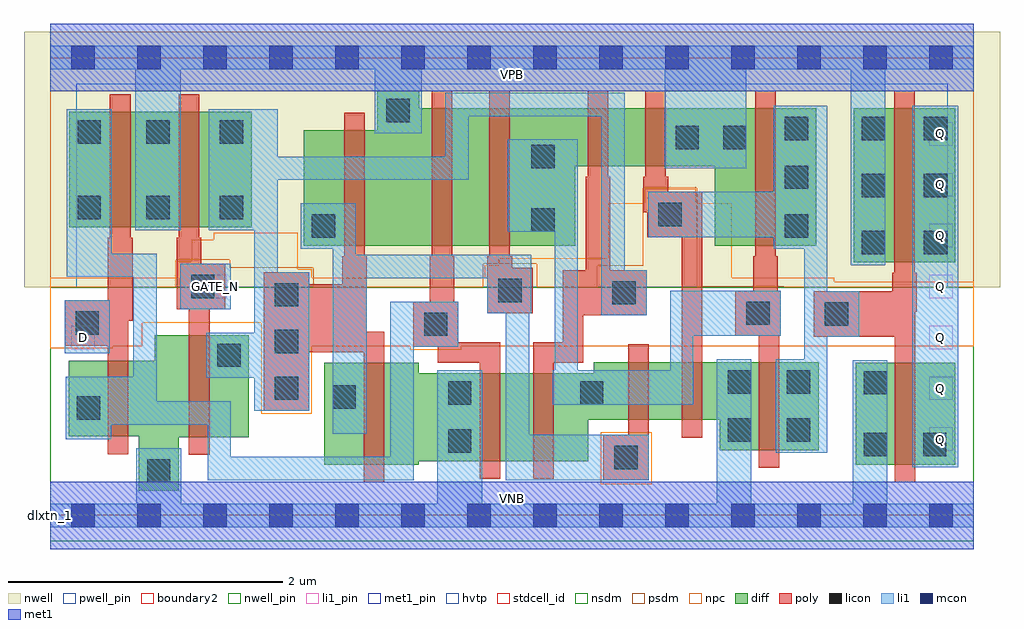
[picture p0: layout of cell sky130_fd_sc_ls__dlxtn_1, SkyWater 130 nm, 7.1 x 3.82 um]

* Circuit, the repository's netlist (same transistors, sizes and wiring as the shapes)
* Copyright 2020 The SkyWater PDK Authors
*
* Licensed under the Apache License, Version 2.0 (the "License");
* you may not use this file except in compliance with the License.
* You may obtain a copy of the License at
*
*     https://www.apache.org/licenses/LICENSE-2.0
*
* Unless required by applicable law or agreed to in writing, software
* distributed under the License is distributed on an "AS IS" BASIS,
* WITHOUT WARRANTIES OR CONDITIONS OF ANY KIND, either express or implied.
* See the License for the specific language governing permissions and
* limitations under the License.
*
* SPDX-License-Identifier: Apache-2.0

.SUBCKT sky130_fd_sc_ls__dlxtn_1 D GATE_N VGND VNB VPB VPWR Q
*.PININFO D:I GATE_N:I VGND:I VNB:I VPB:I VPWR:I Q:O
MI635 clkneg clkpos VPWR VPB sky130_fd_pr__pfet_01v8_hvt m=1 w=0.84U l=0.15U mult=1
+ sa=0.265 sb=0.265 sd=0.28 area=0.063 perim=1.14
MI17 M0 clkneg net53 VPB sky130_fd_pr__pfet_01v8_hvt m=1 w=1.0U l=0.15U mult=1
+ sa=0.265 sb=0.265 sd=0.28 area=0.063 perim=1.14
MI650 Q m1 VPWR VPB sky130_fd_pr__pfet_01v8_hvt m=1 w=1.12U l=0.15U mult=1 sa=0.265
+ sb=0.265 sd=0.28 area=0.063 perim=1.14
MI633 clkpos GATE_N VPWR VPB sky130_fd_pr__pfet_01v8_hvt m=1 w=0.84U l=0.15U mult=1
+ sa=0.265 sb=0.265 sd=0.28 area=0.063 perim=1.14
MI18 net53 db VPWR VPB sky130_fd_pr__pfet_01v8_hvt m=1 w=1.0U l=0.15U mult=1 sa=0.265
+ sb=0.265 sd=0.28 area=0.063 perim=1.14
MI653 net44 m1 VPWR VPB sky130_fd_pr__pfet_01v8_hvt m=1 w=0.42U l=0.15U mult=1
+ sa=0.265 sb=0.265 sd=0.28 area=0.063 perim=1.14
MI651 M0 clkpos net44 VPB sky130_fd_pr__pfet_01v8_hvt m=1 w=0.42U l=0.15U mult=1
+ sa=0.265 sb=0.265 sd=0.28 area=0.063 perim=1.14
MI655 m1 M0 VPWR VPB sky130_fd_pr__pfet_01v8_hvt m=1 w=1.0U l=0.15U mult=1 sa=0.265
+ sb=0.265 sd=0.28 area=0.063 perim=1.14
MI638 db D VPWR VPB sky130_fd_pr__pfet_01v8_hvt m=1 w=0.84U l=0.15U mult=1 sa=0.265
+ sb=0.265 sd=0.28 area=0.063 perim=1.14
MI634 clkpos GATE_N VGND VNB sky130_fd_pr__nfet_01v8 m=1 w=0.74U l=0.15U mult=1
+ sa=0.265 sb=0.265 sd=0.28 area=0.063 perim=1.14
MI649 Q m1 VGND VNB sky130_fd_pr__nfet_01v8 m=1 w=0.74U l=0.15U mult=1 sa=0.265
+ sb=0.265 sd=0.28 area=0.063 perim=1.14
MI652 M0 clkneg net96 VNB sky130_fd_pr__nfet_01v8 m=1 w=0.42U l=0.15U mult=1 sa=0.265
+ sb=0.265 sd=0.28 area=0.063 perim=1.14
MI654 net96 m1 VGND VNB sky130_fd_pr__nfet_01v8 m=1 w=0.42U l=0.15U mult=1 sa=0.265
+ sb=0.265 sd=0.28 area=0.063 perim=1.14
MI656 m1 M0 VGND VNB sky130_fd_pr__nfet_01v8 m=1 w=0.64U l=0.15U mult=1 sa=0.265
+ sb=0.265 sd=0.28 area=0.063 perim=1.14
MI636 clkneg clkpos VGND VNB sky130_fd_pr__nfet_01v8 m=1 w=0.74U l=0.15U mult=1
+ sa=0.265 sb=0.265 sd=0.28 area=0.063 perim=1.14
MI637 db D VGND VNB sky130_fd_pr__nfet_01v8 m=1 w=0.55U l=0.15U mult=1 sa=0.265
+ sb=0.265 sd=0.28 area=0.063 perim=1.14
MI19 M0 clkpos net76 VNB sky130_fd_pr__nfet_01v8 m=1 w=0.64U l=0.15U mult=1 sa=0.265
+ sb=0.265 sd=0.28 area=0.063 perim=1.14
MI20 net76 db VGND VNB sky130_fd_pr__nfet_01v8 m=1 w=0.64U l=0.15U mult=1 sa=0.265
+ sb=0.265 sd=0.28 area=0.063 perim=1.14
.ENDS sky130_fd_sc_ls__dlxtn_1

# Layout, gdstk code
import gdstk
lib = gdstk.Library(unit=1e-6, precision=1e-09)
def R(c, l, rs):  # rectangles x0, y0, x1, y1
    for r in rs: c.add(gdstk.rectangle(r[:2], r[2:], *l))
def A(c, l, x, y, w, h, nx, ny, dx, dy):  # array of equal rectangles
    R(c, l, [(x+i*dx, y+j*dy, x+i*dx+w, y+j*dy+h) for i in range(nx) for j in range(ny)])
def P(c, l, *ps):  # polygons
    for p in ps: c.add(gdstk.Polygon(p, *l))
nwell_pin = (64, 16)
nwell = (64, 20)
diff = (65, 20)
poly = (66, 20)
licon = (66, 44)
li1_pin = (67, 16)
li1 = (67, 20)
mcon = (67, 44)
met1_pin = (68, 16)
met1 = (68, 20)
hvtp = (78, 44)
stdcell_id = (81, 4)
nsdm = (93, 44)
psdm = (94, 20)
npc = (95, 20)
pwell_pin = (122, 16)
boundary2 = (236, 0)

sky130_fd_sc_ls__dlxtn_1 = lib.new_cell('sky130_fd_sc_ls__dlxtn_1')
R(sky130_fd_sc_ls__dlxtn_1, nwell_pin, [(0,3.085,6.72,3.33)])
R(sky130_fd_sc_ls__dlxtn_1, nwell, [(-0.19,1.66,6.91,3.52)])
R(sky130_fd_sc_ls__dlxtn_1, diff, [(5.86,0.37,6.585,1.11), (5.845,1.84,6.585,2.96), (0.14,2.095,1.465,2.935)])
P(sky130_fd_sc_ls__dlxtn_1, diff, [(1.445,1.31),(0.76,1.31),(0.76,1.125),(0.135,1.125),(0.135,0.575),(0.645,0.575),(0.645,0.18),(0.935,0.18),(0.935,0.57),(1.445,0.57)],
  [(5.575,2.96),(2.685,2.96),(2.685,3.09),(2.38,3.09),(2.38,2.8),(1.845,2.8),(1.845,1.96),(3.82,1.96),(3.82,2.54),(4.835,2.54),(4.835,1.96),(5.575,1.96)],
  [(5.59,1.115),(3.955,1.115),(3.955,1.035),(2.68,1.035),(2.68,1.11),(1.995,1.11),(1.995,0.37),(2.68,0.37),(2.68,0.395),(3.915,0.395),(3.915,0.695),(4.87,0.695),(4.87,0.475),(5.59,0.475)])
P(sky130_fd_sc_ls__dlxtn_1, poly, [(6.305,1.765),(6.29,1.765),(6.29,3.09),(6.14,3.09),(6.14,1.765),(6.125,1.765),(6.125,1.63),(5.555,1.63),(5.555,1.3),(6.145,1.3),(6.145,0.24),(6.295,0.24),(6.295,1.48),(6.305,1.48)],
  [(5.315,1.635),(5.295,1.635),(5.295,1.885),(5.28,1.885),(5.28,3.09),(5.13,3.09),(5.13,1.885),(5.115,1.885),(5.115,1.635),(4.985,1.635),(4.985,1.305),(5.155,1.305),(5.155,0.345),(5.305,0.345),(5.305,1.305),(5.315,1.305)],
  [(4.745,2.355),(4.495,2.355),(4.495,2.465),(4.48,2.465),(4.48,3.09),(4.33,3.09),(4.33,2.465),(4.315,2.465),(4.315,2.205),(4.345,2.205),(4.345,2.025),(4.595,2.025),(4.595,0.565),(4.745,0.565)],
  [(4.355,1.245),(4.205,1.245),(4.205,0.585),(4.025,0.585),(4.025,0.255),(4.355,0.255)],
  [(4.34,1.785),(4.075,1.785),(4.075,2.465),(4.06,2.465),(4.06,3.09),(3.91,3.09),(3.91,2.465),(3.895,2.465),(3.895,1.785),(3.73,1.785),(3.73,1.26),(3.515,1.26),(3.515,0.265),(3.665,0.265),(3.665,1.11),(3.88,1.11),(3.88,1.455),(4.34,1.455)],
  [(3.51,1.8),(3.36,1.8),(3.36,1.885),(3.345,1.885),(3.345,3.09),(3.195,3.09),(3.195,1.885),(3.18,1.885),(3.18,1.47),(3.51,1.47)],
  [(3.275,1.26),(2.97,1.26),(2.97,1.555),(2.94,1.555),(2.94,1.885),(2.925,1.885),(2.925,3.09),(2.775,3.09),(2.775,1.885),(2.76,1.885),(2.76,1.555),(2.64,1.555),(2.64,1.225),(2.82,1.225),(2.82,1.11),(3.125,1.11),(3.125,0.265),(3.275,0.265)],
  [(2.43,1.335),(2.305,1.335),(2.305,1.885),(2.29,1.885),(2.29,2.93),(2.14,2.93),(2.14,1.885),(2.125,1.885),(2.125,1.68),(1.885,1.68),(1.885,1.77),(1.555,1.77),(1.555,0.76),(1.885,0.76),(1.885,1.185),(2.28,1.185),(2.28,0.24),(2.43,0.24)],
  [(1.275,1.83),(1.1,1.83),(1.1,2.02),(1.085,2.02),(1.085,3.065),(0.935,3.065),(0.935,2.02),(0.92,2.02),(0.92,1.5),(1.01,1.5),(1.01,0.44),(1.16,0.44),(1.16,1.5),(1.275,1.5)],
  [(0.6,2.02),(0.585,2.02),(0.585,3.065),(0.435,3.065),(0.435,2.02),(0.42,2.02),(0.42,1.565),(0.105,1.565),(0.105,1.235),(0.42,1.235),(0.42,0.445),(0.57,0.445),(0.57,1.415),(0.6,1.415)])
A(sky130_fd_sc_ls__dlxtn_1, licon, 1.635, 0.84, 0.17, 0.17, 1, 3, 0, 0.34)
A(sky130_fd_sc_ls__dlxtn_1, licon, 5.905, 1.9, 0.17, 0.17, 1, 3, 0, 0.415)
A(sky130_fd_sc_ls__dlxtn_1, licon, 6.355, 1.9, 0.17, 0.17, 1, 3, 0, 0.415)
A(sky130_fd_sc_ls__dlxtn_1, licon, 5.345, 2.02, 0.17, 0.17, 1, 3, 0, 0.355)
R(sky130_fd_sc_ls__dlxtn_1, licon, [(0.705,0.24,0.875,0.41), (4.105,0.335,4.275,0.505), (5.92,0.43,6.09,0.6), (6.35,0.43,6.52,0.6), (2.895,0.455,3.065,0.625), (4.93,0.535,5.1,0.705), (5.36,0.535,5.53,0.705), (0.195,0.695,0.365,0.865), (2.055,0.775,2.225,0.945), (2.895,0.805,3.065,0.975), (3.855,0.805,4.025,0.975), (5.92,0.88,6.09,1.05), (4.93,0.885,5.1,1.055), (5.36,0.885,5.53,1.055), (1.215,1.08,1.385,1.25), (2.72,1.305,2.89,1.475), (0.185,1.315,0.355,1.485), (5.635,1.38,5.805,1.55), (5.065,1.385,5.235,1.555), (4.09,1.535,4.26,1.705), (3.26,1.55,3.43,1.72), (1.025,1.58,1.195,1.75), (1.905,2.02,2.075,2.19), (3.5,2.065,3.67,2.235), (4.425,2.105,4.595,2.275), (0.2,2.155,0.37,2.325), (0.7,2.155,0.87,2.325), (1.235,2.155,1.405,2.325), (3.5,2.525,3.67,2.695), (4.55,2.665,4.72,2.835), (4.895,2.665,5.065,2.835), (0.2,2.705,0.37,2.875), (0.7,2.705,0.87,2.875), (1.235,2.705,1.405,2.875), (2.445,2.86,2.615,3.03)])
A(sky130_fd_sc_ls__dlxtn_1, li1_pin, 6.395, 0.47, 0.17, 0.17, 1, 7, 0, 0.37)
R(sky130_fd_sc_ls__dlxtn_1, li1_pin, [(0.155,1.21,0.325,1.38), (1.115,1.58,1.285,1.75)])
R(sky130_fd_sc_ls__dlxtn_1, li1, [(6.27,0.35,6.605,2.98), (0.105,1.18,0.435,1.565), (0.945,1.5,1.315,1.83)])
P(sky130_fd_sc_ls__dlxtn_1, li1, [(0,-0.085),(0,0.085),(0.625,0.085),(0.625,0.49),(0.955,0.49),(0.955,0.085),(2.815,0.085),(2.815,1.055),(3.145,1.055),(3.145,0.085),(4.85,0.085),(4.85,1.135),(5.1,1.135),(5.1,0.085),(5.84,0.085),(5.84,1.13),(6.09,1.13),(6.09,0.085),(6.72,0.085),(6.72,-0.085)],
  [(0,3.245),(0,3.415),(6.72,3.415),(6.72,3.245),(6.075,3.245),(6.075,1.82),(5.825,1.82),(5.825,3.245),(5.065,3.245),(5.065,2.525),(4.47,2.525),(4.47,3.245),(2.705,3.245),(2.705,2.78),(2.36,2.78),(2.36,3.245),(0.95,3.245),(0.95,2.075),(0.62,2.075),(0.62,3.245)],
  [(0.605,1.01),(0.605,1.735),(0.12,1.735),(0.12,2.955),(0.45,2.955),(0.45,1.905),(0.775,1.905),(0.775,0.83),(1.315,0.83),(1.315,0.425),(2.475,0.425),(2.475,1.555),(2.97,1.555),(2.97,1.225),(2.645,1.225),(2.645,0.255),(1.145,0.255),(1.145,0.66),(0.445,0.66),(0.445,0.555),(0.115,0.555),(0.115,1.01)],
  [(2.225,1.895),(3.5,1.895),(3.5,1.47),(3.485,1.47),(3.485,0.585),(4.355,0.585),(4.355,0.255),(3.315,0.255),(3.315,1.47),(3.18,1.47),(3.18,1.725),(2.305,1.725),(2.305,0.595),(2.055,0.595),(2.055,1.94),(1.825,1.94),(1.825,2.27),(2.225,2.27)],
  [(4.18,3.075),(4.18,1.785),(4.34,1.785),(4.34,1.455),(4.01,1.455),(4.01,2.905),(3.045,2.905),(3.045,2.44),(1.655,2.44),(1.655,1.77),(1.885,1.77),(1.885,0.76),(1.485,0.76),(1.485,1),(1.135,1),(1.135,1.33),(1.485,1.33),(1.485,2.075),(1.155,2.075),(1.155,2.955),(1.655,2.955),(1.655,2.61),(2.875,2.61),(2.875,3.075)],
  [(4.35,2.025),(4.35,2.355),(5.265,2.355),(5.265,2.98),(5.655,2.98),(5.655,1.63),(5.885,1.63),(5.885,1.3),(5.655,1.3),(5.655,0.455),(5.28,0.455),(5.28,1.135),(5.485,1.135),(5.485,1.94),(5.265,1.94),(5.265,2.025)],
  [(3.67,1.055),(3.67,2.065),(3.33,2.065),(3.33,2.735),(3.84,2.735),(3.84,1.055),(4.51,1.055),(4.51,1.635),(5.315,1.635),(5.315,1.305),(4.68,1.305),(4.68,0.805),(3.655,0.805),(3.655,1.055)])
A(sky130_fd_sc_ls__dlxtn_1, mcon, 0.155, -0.085, 0.17, 0.17, 14, 2, 0.48, 3.33)
R(sky130_fd_sc_ls__dlxtn_1, met1_pin, [(0,0,6.72,0.245), (0,3.085,6.72,3.33)])
R(sky130_fd_sc_ls__dlxtn_1, met1, [(0,-0.245,6.72,0.245), (0,3.085,6.72,3.575)])
R(sky130_fd_sc_ls__dlxtn_1, hvtp, [(0.19,1.66,6.53,3.14)])
R(sky130_fd_sc_ls__dlxtn_1, stdcell_id, [(0,0,6.72,3.33)])
R(sky130_fd_sc_ls__dlxtn_1, nsdm, [(0,-0.19,6.72,1.66)])
P(sky130_fd_sc_ls__dlxtn_1, psdm, [(6.72,3.52),(0,3.52),(0,1.66),(0.915,1.66),(0.915,1.86),(1.305,1.86),(1.305,1.8),(1.915,1.8),(1.915,1.66),(3.15,1.66),(3.15,1.83),(3.54,1.83),(3.54,1.66),(3.98,1.66),(3.98,1.815),(4.315,1.815),(4.315,2.385),(4.705,2.385),(4.705,1.665),(5.345,1.665),(5.345,1.66),(6.72,1.66)])
R(sky130_fd_sc_ls__dlxtn_1, npc, [(4.005,0.225,4.375,0.605)])
P(sky130_fd_sc_ls__dlxtn_1, npc, [(6.72,1.7),(5.705,1.7),(5.705,1.73),(4.96,1.73),(4.96,2.27),(4.695,2.27),(4.695,2.375),(4.325,2.375),(4.325,2.27),(4.06,2.27),(4.06,1.87),(3.265,1.87),(3.265,1.82),(3.16,1.82),(3.16,1.73),(1.905,1.73),(1.905,1.79),(1.8,1.79),(1.8,2.055),(1.19,2.055),(1.19,2.005),(1.03,2.005),(1.03,1.85),(0.925,1.85),(0.925,1.73),(0,1.73),(0,1.215),(0.455,1.215),(0.455,1.23),(0.67,1.23),(0.67,1.4),(1.535,1.4),(1.535,0.74),(1.905,0.74),(1.905,1.23),(2.62,1.23),(2.62,1.205),(2.99,1.205),(2.99,1.23),(6.72,1.23)])
R(sky130_fd_sc_ls__dlxtn_1, pwell_pin, [(0,0,6.72,0.245)])
R(sky130_fd_sc_ls__dlxtn_1, boundary2, [(0,0,6.72,3.33)])
sky130_fd_sc_ls__dlxtn_1.add(gdstk.Label('dlxtn_1', (0,0), layer=83, texttype=44))
sky130_fd_sc_ls__dlxtn_1.add(gdstk.Label('VNB', (3.36,0.123), layer=64, texttype=59))
sky130_fd_sc_ls__dlxtn_1.add(gdstk.Label('VPB', (3.36,3.208), layer=64, texttype=5))
sky130_fd_sc_ls__dlxtn_1.add(gdstk.Label('VPWR', (3.36,3.208), layer=68, texttype=5))
sky130_fd_sc_ls__dlxtn_1.add(gdstk.Label('VGND', (3.36,0.123), layer=68, texttype=5))
sky130_fd_sc_ls__dlxtn_1.add(gdstk.Label('Q', (6.48,0.555), layer=67, texttype=5))
sky130_fd_sc_ls__dlxtn_1.add(gdstk.Label('Q', (6.48,0.925), layer=67, texttype=5))
sky130_fd_sc_ls__dlxtn_1.add(gdstk.Label('Q', (6.48,1.295), layer=67, texttype=5))
sky130_fd_sc_ls__dlxtn_1.add(gdstk.Label('Q', (6.48,1.665), layer=67, texttype=5))
sky130_fd_sc_ls__dlxtn_1.add(gdstk.Label('Q', (6.48,2.035), layer=67, texttype=5))
sky130_fd_sc_ls__dlxtn_1.add(gdstk.Label('Q', (6.48,2.405), layer=67, texttype=5))
sky130_fd_sc_ls__dlxtn_1.add(gdstk.Label('Q', (6.48,2.775), layer=67, texttype=5))
sky130_fd_sc_ls__dlxtn_1.add(gdstk.Label('GATE_N', (1.2,1.665), layer=67, texttype=5))
sky130_fd_sc_ls__dlxtn_1.add(gdstk.Label('D', (0.24,1.295), layer=67, texttype=5))

lib.write_gds('sky130_fd_sc_ls__dlxtn_1.gds')
